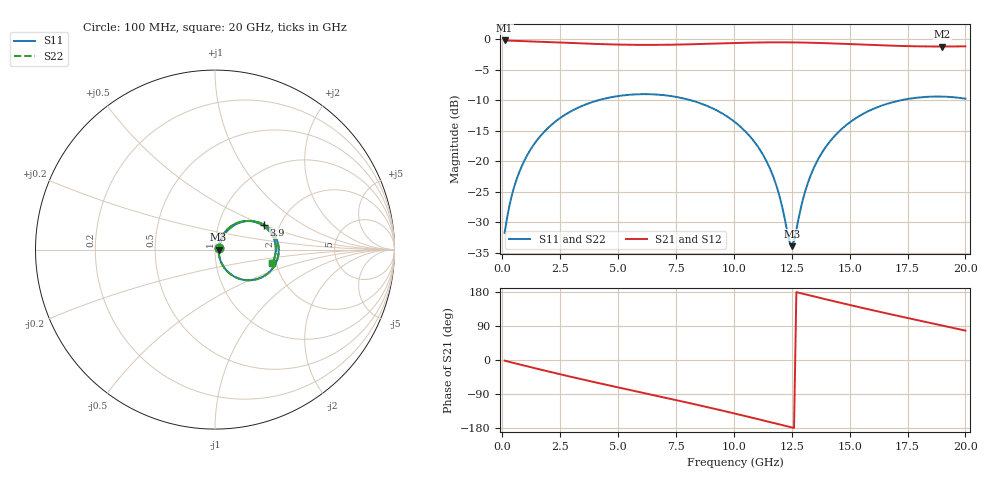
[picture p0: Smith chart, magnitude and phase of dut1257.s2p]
! Touchstone file exported from HFSS 2026.1.0
!  File:  C:/ffzhzh/LocalFiles/Ansys_Project_Files/temp_train_TSV_RDL_1257_1783326542_38704.aedt
!  Generated:  04:44:17 PM Jul  6, 2026
!  Design:  TSV_RDL
!  Project:  temp_train_TSV_RDL_1257_1783326542_38704
! Variables:
!  h_bsmrdl = 5.78um
!  h_ox = 20um
!  h_rdl = 5um
!  h_sub = 59.76um
!  h_tmrdl = 2.68um
!  h_tsv = 59.76um
!  h_via = 3um
!  l_bsmrdl = 448.19um
!  l_sub = 5021.17um
!  l_tmrdl = 785.04um
!  m_sub = 200um
!  pitch = 36.34um
!  r_tsv = 6.21um
!  s_tmrdl = 10um
!  w_bsmrdl = 20.96um
!  w_sub = 500um
!  w_tmrdl = 24.52um
!  x_tsv_center1 = 797.3um
!  x_tsv_center2 = 1266.45um
!  x_tsv_center3 = 2076.01um
!  x_tsv_center4 = 2545.16um
!  x_tsv_center5 = 3354.72um
!  x_tsv_center6 = 3823.87um
# GHz S MA R 50.000000
! Terminal data exported
! Port[1] = TM_RDL1_1_T1
! Port[2] = TM_RDL5_1_T1
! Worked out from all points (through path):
!   200 points, 100 MHz to 20 GHz, reference 50 ohm
!   highest |S21| = -0.20 dB at 100 MHz (marker M1); lowest = -1.2 dB at 19 GHz (marker M2)
!   group delay of S21, straight-line fit = 39.3 ps
!   lowest |S11| = -33.9 dB at 12.5 GHz (marker M3), VSWR 1.04, Z = 52.1 - j0.00633 ohm
!   |S11| at or under -10 dB: start of sweep to 4.138 GHz; 8.148 GHz to 17.2 GHz (9.057 GHz wide, 71.4 % of centre)
!   |S22| runs from -33.7 to -9.0 dB; largest |S21 - S12| = 1.7e-14
!   S11 on the Smith chart (normalised r, x): 100 MHz: 1.05, +0.02; 3.9 GHz: 1.66, +0.50; 20 GHz: 1.89, -0.32
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0.1  0.02597 26.4  0.977 -1.7  0.977 -1.7  0.02597 26.4
! Gamma 0 0 0 0
! Port Impedance 50 0 50 0
0.5  0.0607 54.9  0.9709 -8.0  0.9709 -8.0  0.0607 54.9
1.2  0.1233 56.9  0.9615 -18.5  0.9615 -18.5  0.1233 56.9
2.2  0.205 47.5  0.9456 -33.3  0.9456 -33.3  0.205 47.5
3.5  0.2874 31.7  0.9232 -51.8  0.9232 -51.8  0.2874 31.7
3.9  0.3064 26.7  0.9171 -57.4  0.9171 -57.4  0.3064 26.7
5.3  0.3484 9.2  0.9018 -76.3  0.9018 -76.3  0.3483 9.2
6.8  0.351 -9.6  0.8995 -96.3  0.8995 -96.3  0.351 -9.5
8.5  0.3014 -31.1  0.9128 -119.4  0.9128 -119.4  0.3014 -31.0
10.1  0.206 -51.2  0.9318 -142.1  0.9318 -142.1  0.206 -51.1
10.9  0.1436 -60.1  0.9392 -153.9  0.9392 -153.9  0.1436 -59.9
11.5  0.09258 -64.2  0.9424 -162.9  0.9424 -162.9  0.09261 -64.0
11.9  0.05805 -62.2  0.9432 -168.9  0.9432 -168.9  0.05813 -61.9
12.4  0.02204 -23.3  0.9424 -176.4  0.9424 -176.4  0.02237 -22.8
12.5  0.02024 -0.2  0.942 -177.9  0.942 -177.9  0.02061 -0.1
13  0.05012 57.6  0.939 174.6  0.939 174.6  0.05032 57.3
13.4  0.08385 61.7  0.9352 168.6  0.9352 168.6  0.08399 61.5
14  0.1337 58.4  0.9279 159.7  0.9279 159.7  0.1338 58.3
14.7  0.1874 51.2  0.9175 149.6  0.9175 149.6  0.1874 51.1
16.7  0.2991 26.9  0.8868 121.6  0.8868 121.6  0.2992 26.8
19  0.3392 -1.3  0.8716 90.9  0.8716 90.9  0.3392 -1.3
20  0.3263 -13.5  0.8747 77.6  0.8747 77.6  0.3263 -13.4
